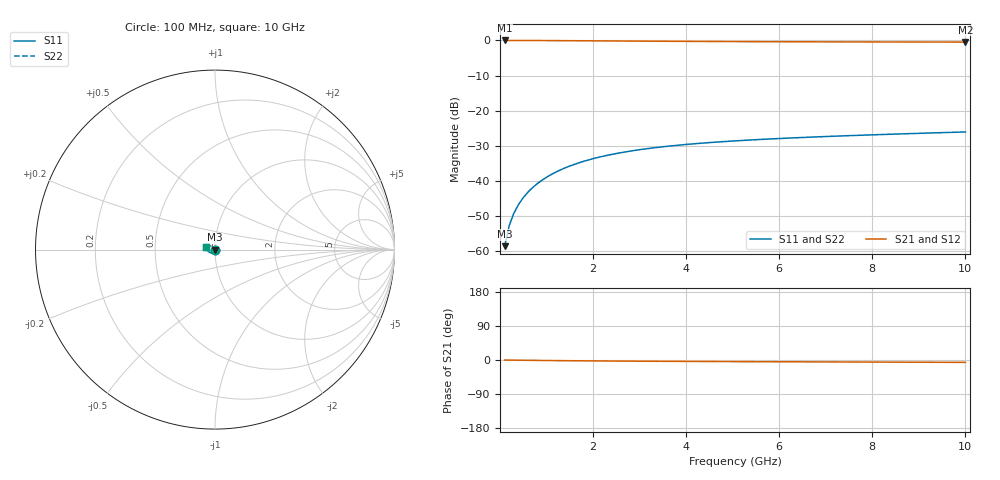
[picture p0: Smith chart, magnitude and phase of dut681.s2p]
! Touchstone file exported from HFSS 2024.1.0
!  File:  C:/UserFiles/LocalFiles/RDL_TSV_Batchsim/temp_TSV1_681_1779795050.aedt
!  Generated:  07:39:15 PM May 26, 2026
!  Design:  TSV1
!  Project:  temp_TSV1_681_1779795050
!  Setup:  Setup1
!  Solution:  Sweep
! Variables:
!  dtsv = 8.27um
!  hbump = 3um
!  htsv = 98.58um
!  lrdl = 252.1521522um
!  p = 40
!  p1 = 51.42um
!  t = 500um
!  trdl = 3um
!  wrdl = 24.89489489um
# GHz S MA R 50.000000
! Terminal data exported
! Port[1] = TSV22_T1
! Port[2] = TSV22_T2
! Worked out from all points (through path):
!   100 points, 100 MHz to 10 GHz, reference 50 ohm
!   highest |S21| = 0.00 dB at 100 MHz (marker M1); lowest = -0.5 dB at 10 GHz (marker M2)
!   lowest |S11| = -58.6 dB at 100 MHz (marker M3), VSWR 1.00, Z = 50 - j0.116 ohm
!   |S11| at or under -10 dB: start of sweep to end of sweep
!   |S22| runs from -58.6 to -26.1 dB; largest |S21 - S12| = 1.8e-14
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0.1  0.001177 -80.1  0.9997 -0.1  0.9997 -0.1  0.001177 -80.1
! Gamma 0 0 0 0
! Port Impedance 50 0 50 0
0.2  0.002324 -87.7  0.9996 -0.3  0.9996 -0.3  0.002324 -87.7
0.3  0.003477 -91.5  0.9994 -0.4  0.9994 -0.4  0.003477 -91.5
0.4  0.004627 -94.5  0.9991 -0.5  0.9991 -0.5  0.004627 -94.5
0.5  0.005769 -97.0  0.9987 -0.7  0.9987 -0.7  0.005769 -97.0
0.6  0.006899 -99.3  0.9983 -0.8  0.9983 -0.8  0.006899 -99.3
0.7  0.008017 -101.5  0.9978 -0.9  0.9978 -0.9  0.008017 -101.5
0.8  0.009119 -103.6  0.9973 -1.1  0.9973 -1.1  0.009119 -103.6
0.9  0.0102 -105.6  0.9967 -1.2  0.9967 -1.2  0.0102 -105.6
1.1  0.01232 -109.5  0.9953 -1.4  0.9953 -1.4  0.01232 -109.5
1.4  0.01533 -115.1  0.9929 -1.8  0.9929 -1.8  0.01533 -115.1
1.6  0.01722 -118.6  0.9912 -2.0  0.9912 -2.0  0.01722 -118.6
1.8  0.01902 -122.0  0.9893 -2.2  0.9893 -2.2  0.01902 -122.0
2.1  0.02153 -126.9  0.9865 -2.5  0.9865 -2.5  0.02153 -126.9
2.5  0.02455 -133.0  0.9827 -2.8  0.9827 -2.8  0.02455 -133.0
2.9  0.02721 -138.6  0.979 -3.1  0.979 -3.1  0.02721 -138.6
3.4  0.03009 -145.0  0.9747 -3.4  0.9747 -3.4  0.03009 -145.0
4.2  0.0339 -154.2  0.9687 -3.8  0.9687 -3.8  0.0339 -154.2
5.1  0.03732 -163.0  0.9632 -4.2  0.9632 -4.2  0.03732 -163.0
6.7  0.04207 -175.9  0.9562 -4.9  0.9562 -4.9  0.04207 -175.9
8.4  0.04622 173.0  0.9513 -5.6  0.9513 -5.6  0.04622 173.0
10  0.04979 164.4  0.9481 -6.3  0.9481 -6.3  0.04979 164.4
